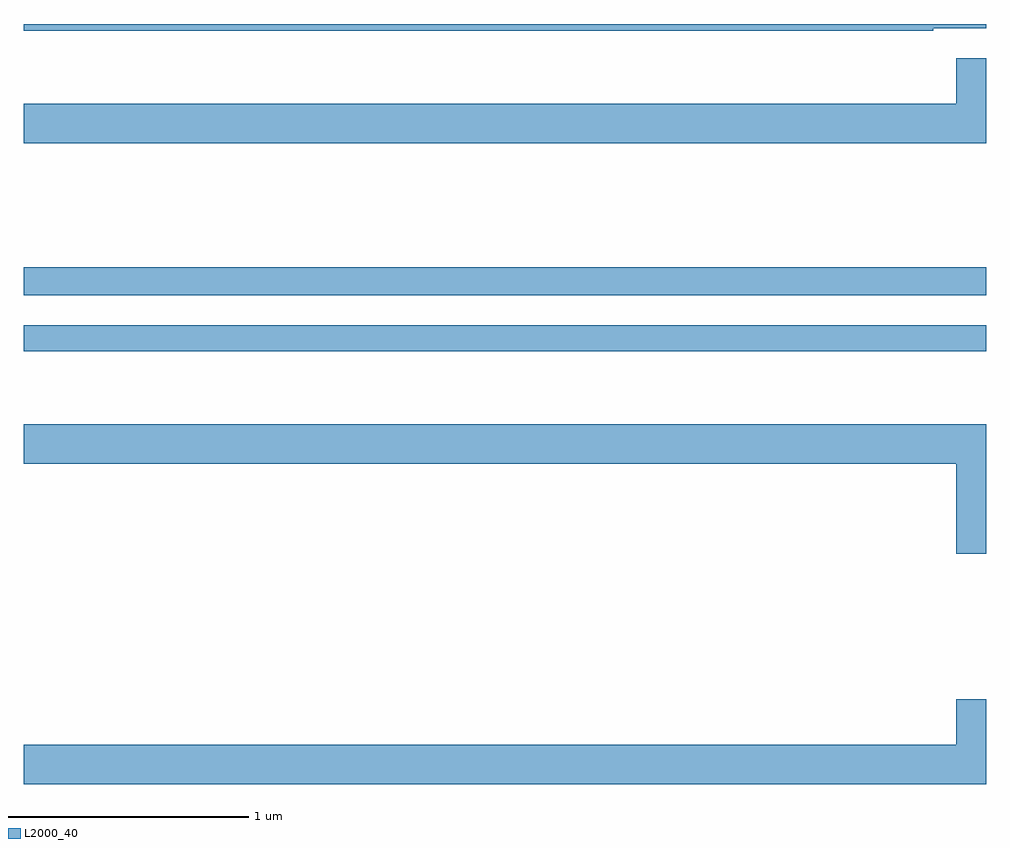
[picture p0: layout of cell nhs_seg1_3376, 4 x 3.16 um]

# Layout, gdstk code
import gdstk
lib = gdstk.Library(unit=1e-6, precision=1e-09)
def R(c, l, rs):  # rectangles x0, y0, x1, y1
    for r in rs: c.add(gdstk.rectangle(r[:2], r[2:], *l))
def P(c, l, *ps):  # polygons
    for p in ps: c.add(gdstk.Polygon(p, *l))
L2000_40 = (2000, 40)

nhs_seg1_3376 = lib.new_cell('nhs_seg1_3376')
R(nhs_seg1_3376, L2000_40, [(293,578.838,297,578.946), (293,579.072,297,579.188)])
P(nhs_seg1_3376, L2000_40, [(296.78,580.182),(297,580.182),(297,580.199),(293,580.199),(293,580.17),(296.78,580.17)],
  [(297,580.057),(296.876,580.057),(296.876,579.868),(293,579.868),(293,579.704),(297,579.704)],
  [(297,578.536),(293,578.536),(293,578.372),(296.876,578.372),(296.876,577.998),(297,577.998)],
  [(297,577.393),(296.876,577.393),(296.876,577.204),(293,577.204),(293,577.04),(297,577.04)])

lib.write_gds('nhs_seg1_3376.gds')
